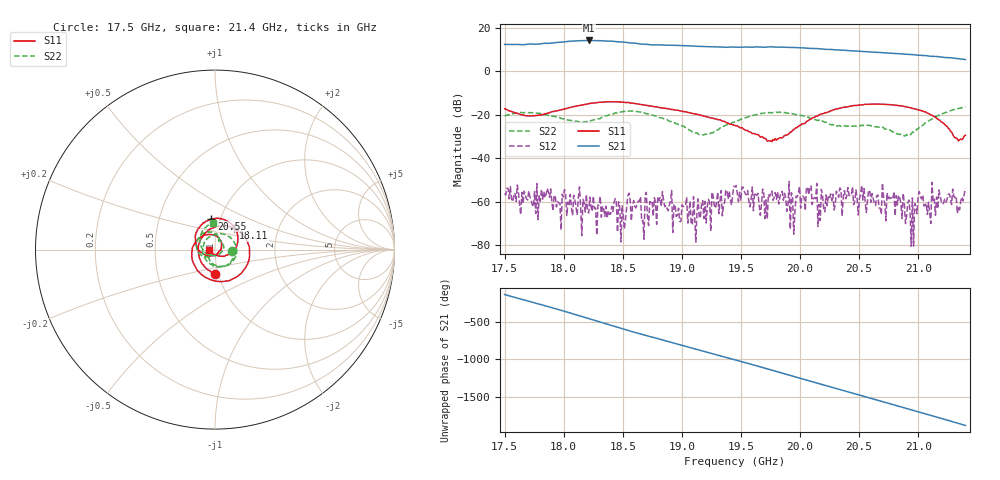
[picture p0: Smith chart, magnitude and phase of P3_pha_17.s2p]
!Created with skrf (http://scikit-rf.org).
# GHz S RI R 50.0
!freq ReS11 ImS11 ReS21 ImS21 ReS12 ImS12 ReS22 ImS22
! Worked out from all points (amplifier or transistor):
!   401 points, 17.5 GHz to 21.4 GHz, reference 50 ohm
!   highest |S21| = 14.1 dB at 18.21 GHz (marker M1)
!   |S21| within 3 dB of that: start of sweep to 19.32 GHz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
!   unconditionally stable (mu >= 1): start of sweep to end of sweep
!   at 18.14 GHz: K = 123.38, MAG = 14.1 dB, |S12| = -62.1 dB
!   at 19.45 GHz: K = 63.53, MAG = 11.1 dB, |S12| = -53.2 dB
!   at 21.4 GHz: K = 129.58, MAG = 5.4 dB, |S12| = -53.8 dB
!   S11 on the Smith chart (normalised r, x): 17.5 GHz: 0.97, -0.27; 18.11 GHz: 1.19, +0.30; 20.55 GHz: 0.91, +0.32; 21.4 GHz: 0.94, -0.01
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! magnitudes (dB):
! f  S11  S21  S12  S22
! 17.5 GHz  -17.3  12.3  -56.2  -20.6
! 18.11 GHz  -15.9  13.9  -66.2  -23.0
! 18.15 GHz  -15.7  14.0  -75.6  -23.3
! 18.21 GHz  -14.9  14.1  -65.2  -23.0
! 18.43 GHz  -14.1  13.7  -60.4  -19.5
! 18.5 GHz  -14.3  13.4  -66.7  -18.5
! 18.54 GHz  -14.4  13.1  -57.1  -18.4
! 18.81 GHz  -16.6  12.1  -59.4  -21.2
! 18.97 GHz  -18.0  11.8  -63.0  -24.6
! 19.02 GHz  -18.6  11.7  -62.1  -25.6
! 19.1 GHz  -19.5  11.5  -57.6  -28.1
! 19.45 GHz  -24.9  11.0  -53.2  -23.3
! 19.72 GHz  -32.2  11.1  -68.0  -19.2
! 19.86 GHz  -30.2  11.0  -59.3  -19.1
! 19.94 GHz  -27.2  10.9  -58.2  -19.5
! 20.1 GHz  -21.7  10.4  -61.3  -22.0
! 20.55 GHz  -15.2  8.9  -59.9  -24.9
! 20.76 GHz  -15.4  8.3  -57.9  -27.0
! 20.95 GHz  -17.1  7.6  -58.3  -28.0
! 21.02 GHz  -18.0  7.3  -57.8  -25.3
! 21.09 GHz  -19.5  7.0  -60.2  -22.9
! 21.4 GHz  -29.5  5.3  -53.8  -16.4
